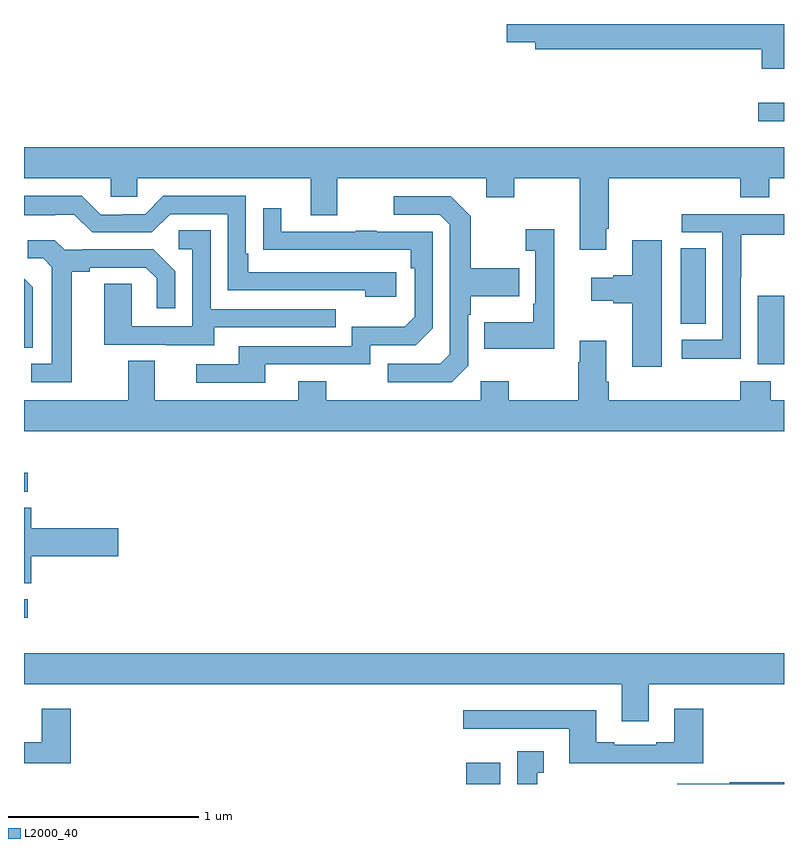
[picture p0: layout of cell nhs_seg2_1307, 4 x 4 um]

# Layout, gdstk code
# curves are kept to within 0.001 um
import gdstk
lib = gdstk.Library(unit=1e-6, precision=1e-09)
def R(c, l, rs):  # rectangles x0, y0, x1, y1
    for r in rs: c.add(gdstk.rectangle(r[:2], r[2:], *l))
def P(c, l, *ps):  # polygons
    for p in ps: c.add(gdstk.Polygon(p, *l))
L2000_40 = (2000, 40)

nhs_seg2_1307 = lib.new_cell('nhs_seg2_1307')
R(nhs_seg2_1307, L2000_40, [(181.328,625.8,181.507,625.912), (179,626.676,179.02,626.772), (179,627.339,179.02,627.438), (182.861,628.01,183,628.371), (182.456,628.222,182.587,628.619), (182.865,629.288,183,629.385)])
P(nhs_seg2_1307, L2000_40, [(183,629.8),(181.542,629.8),(181.542,629.705),(181.691,629.705),(181.691,629.668),(182.882,629.668),(182.882,629.564),(183,629.564)],
  [(182.065,628.723),(182.078,628.723),(182.078,628.988),(182.771,628.988),(182.771,628.889),(182.923,628.889),(182.923,628.988),(183,628.988),(183,629.152),(179,629.152),(179,628.988),(179.457,628.988),(179.457,628.89),(179.595,628.89),(179.595,628.988),(180.509,628.988),(180.509,628.794),(180.649,628.794),(180.649,628.988),(181.433,628.988),(181.433,628.889),(181.581,628.889),(181.581,628.988),(181.925,628.988),(181.925,628.611),(182.065,628.611)],
  [(180.958,628.494),(180.181,628.494),(180.181,628.591),(180.168,628.591),(180.168,628.896),(179.733,628.896),(179.637,628.8),(179.519,628.8),(179.519,628.797),(179.403,628.797),(179.303,628.897),(179,628.897),(179,628.793),(179.165,628.793),(179.165,628.797),(179.265,628.797),(179.358,628.704),(179.673,628.704),(179.769,628.8),(180.072,628.8),(180.072,628.398),(180.797,628.398),(180.797,628.364),(180.958,628.364)],
  [(181.338,628.002),(181.338,628.271),(181.351,628.271),(181.351,628.367),(181.607,628.367),(181.607,628.515),(181.351,628.515),(181.351,628.787),(181.245,628.893),(180.945,628.893),(180.945,628.797),(181.188,628.797),(181.242,628.743),(181.242,628.062),(181.191,628.011),(180.915,628.011),(180.915,627.915),(181.251,627.915)],
  [(180.271,628.008),(180.822,628.008),(180.822,628.11),(181.062,628.11),(181.152,628.2),(181.152,628.707),(180.857,628.707),(180.857,628.712),(180.745,628.712),(180.745,628.707),(180.355,628.707),(180.355,628.831),(180.259,628.831),(180.259,628.612),(181.036,628.611),(181.036,628.514),(181.056,628.514),(181.056,628.26),(181.003,628.207),(180.726,628.207),(180.726,628.104),(180.131,628.104),(180.131,628.008),(179.907,628.008),(179.907,627.912),(180.271,627.912)],
  [(182.772,628.468),(182.775,628.468),(182.775,628.692),(183,628.692),(183,628.8),(182.463,628.8),(182.463,628.704),(182.676,628.704),(182.676,628.137),(182.463,628.137),(182.463,628.039),(182.772,628.039)],
  [(181.79,628.72),(181.641,628.72),(181.641,628.607),(181.692,628.607),(181.692,628.327),(181.68,628.327),(181.68,628.231),(181.423,628.231),(181.423,628.091),(181.79,628.091)],
  [(180.001,628.203),(180.641,628.203),(180.641,628.299),(179.982,628.299),(179.982,628.715),(179.814,628.715),(179.814,628.614),(179.886,628.614),(179.886,628.209),(179.568,628.209),(179.568,628.433),(179.423,628.433),(179.423,628.113),(179.747,628.113),(179.747,628.109),(180.001,628.109)],
  [(182.356,628.663),(182.201,628.663),(182.201,628.478),(182.102,628.478),(182.102,628.465),(181.986,628.465),(181.986,628.343),(182.102,628.343),(182.102,628.331),(182.201,628.331),(182.201,627.996),(182.356,627.996)],
  [(179.251,628.496),(179.347,628.496),(179.347,628.518),(179.642,628.518),(179.699,628.461),(179.699,628.305),(179.796,628.305),(179.796,628.498),(179.68,628.614),(179.308,628.614),(179.308,628.611),(179.214,628.611),(179.162,628.663),(179.019,628.663),(179.019,628.566),(179.1,628.566),(179.147,628.519),(179.147,628.011),(179.037,628.011),(179.037,627.915),(179.251,627.915)],
  [(179.046,628.414),(179,628.46),(179,628.096),(179.046,628.096)],
  [(183,627.82),(182.931,627.82),(182.931,627.919),(182.771,627.919),(182.771,627.82),(182.078,627.82),(182.078,627.916),(182.065,627.916),(182.065,628.132),(181.925,628.132),(181.925,628.019),(181.918,628.019),(181.918,627.82),(181.551,627.82),(181.551,627.919),(181.404,627.919),(181.404,627.82),(180.591,627.82),(180.591,627.919),(180.443,627.919),(180.443,627.82),(179.689,627.82),(179.689,628.028),(179.549,628.028),(179.549,627.82),(179,627.82),(179,627.656),(183,627.656)],
  [(179.039,626.999),(179.497,626.999),(179.497,627.146),(179.039,627.146),(179.039,627.254),(179,627.254),(179,626.857),(179.039,626.857)],
  [(182.287,626.324),(183,626.324),(183,626.488),(179,626.488),(179,626.324),(182.147,626.324),(182.147,626.13),(182.287,626.13)],
  [(182.576,626.197),(182.423,626.197),(182.423,626.02),(182.327,626.02),(182.327,626.007),(182.107,626.007),(182.107,626.02),(182.011,626.02),(182.011,626.188),(181.311,626.188),(181.311,626.091),(181.871,626.091),(181.871,625.91),(182.576,625.91)],
  [(179.246,626.197),(179.093,626.197),(179.093,626.02),(179,626.02),(179,625.91),(179.246,625.91)],
  [(181.702,625.859),(181.735,625.859),(181.735,625.972),(181.595,625.972),(181.595,625.8),(181.702,625.8)],
  [(183,625.808),(182.714,625.808),(182.714,625.801),(182.438,625.801),(182.438,625.8),(183,625.8)])

lib.write_gds('nhs_seg2_1307.gds')
